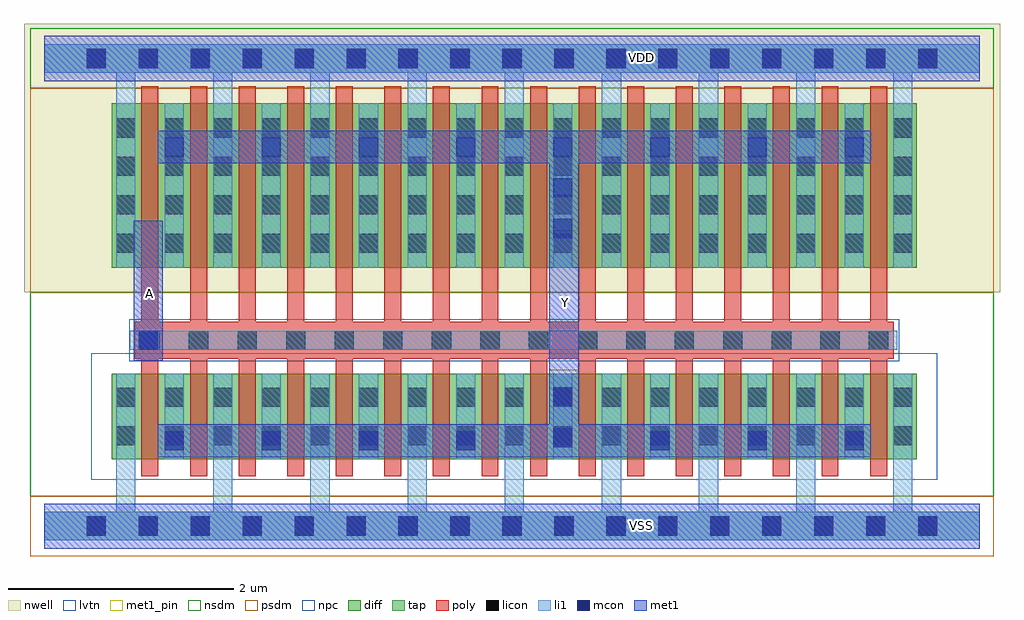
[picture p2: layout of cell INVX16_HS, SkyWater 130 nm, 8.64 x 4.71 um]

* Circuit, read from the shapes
.subckt INVX16_HS A VDD VSS Y
XM1 Y A VSS VSS sky130_fd_pr__nfet_01v8_lvt w=0.76 l=0.15 m=16
XM2 Y A VDD VDD sky130_fd_pr__pfet_01v8 w=1.46 l=0.15 m=16
.ends

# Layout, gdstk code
import gdstk
lib = gdstk.Library(unit=1e-6, precision=1e-09)
def R(c, l, rs):  # rectangles x0, y0, x1, y1
    for r in rs: c.add(gdstk.rectangle(r[:2], r[2:], *l))
def A(c, l, x, y, w, h, nx, ny, dx, dy):  # array of equal rectangles
    R(c, l, [(x+i*dx, y+j*dy, x+i*dx+w, y+j*dy+h) for i in range(nx) for j in range(ny)])
def P(c, l, *ps):  # polygons
    for p in ps: c.add(gdstk.Polygon(p, *l))
nwell = (64, 20)
diff = (65, 20)
tap = (65, 44)
poly = (66, 20)
licon = (66, 44)
li1 = (67, 20)
mcon = (67, 44)
met1_pin = (68, 16)
met1 = (68, 20)
nsdm = (93, 44)
psdm = (94, 20)
npc = (95, 20)
lvtn = (125, 44)

pyl1con_c_cdns_752016586 = lib.new_cell('PYL1CON_C_CDNS_752016586813')
R(pyl1con_c_cdns_752016586, poly, [(-0.135,-0.165,0.135,0.165)])
R(pyl1con_c_cdns_752016586, licon, [(-0.085,-0.085,0.085,0.085)])
R(pyl1con_c_cdns_752016586, npc, [(-0.185,-0.185,0.185,0.185)])

l1m1_c_cdns_752016586811 = lib.new_cell('L1M1_C_CDNS_752016586811')
R(l1m1_c_cdns_752016586811, li1, [(-0.165,-0.085,0.165,0.085)])
R(l1m1_c_cdns_752016586811, mcon, [(-0.085,-0.085,0.085,0.085)])
R(l1m1_c_cdns_752016586811, met1, [(-0.115,-0.145,0.115,0.145)])

l1m1_c_cdns_752016586812 = lib.new_cell('L1M1_C_CDNS_752016586812')
R(l1m1_c_cdns_752016586812, li1, [(-0.085,-0.165,0.085,0.165)])
R(l1m1_c_cdns_752016586812, mcon, [(-0.085,-0.085,0.085,0.085)])
R(l1m1_c_cdns_752016586812, met1, [(-0.115,-0.145,0.115,0.145)])

l1m1_c_cdns_752016586817 = lib.new_cell('L1M1_C_CDNS_752016586817')
R(l1m1_c_cdns_752016586817, li1, [(-0.085,-0.525,0.085,0.525)])
A(l1m1_c_cdns_752016586817, mcon, -0.085, -0.445, 0.17, 0.17, 1, 3, 0, 0.36)
R(l1m1_c_cdns_752016586817, met1, [(-0.115,-0.505,0.115,0.505)])

l1m1_c_cdns_752016586816 = lib.new_cell('L1M1_C_CDNS_752016586816')
R(l1m1_c_cdns_752016586816, li1, [(-0.085,-0.345,0.085,0.345)])
R(l1m1_c_cdns_752016586816, mcon, [(-0.085,-0.265,0.085,-0.095), (-0.085,0.095,0.085,0.265)])
R(l1m1_c_cdns_752016586816, met1, [(-0.115,-0.325,0.115,0.325)])

invx16_hs = lib.new_cell('INVX16_HS')
R(invx16_hs, nwell, [(-0.18,2.07,8.46,4.445)])
R(invx16_hs, diff, [(0.595,0.59,7.725,1.35), (0.595,2.285,7.725,3.745)])
P(invx16_hs, poly, [(7.52,1.81),(7.46,1.81),(7.46,3.895),(7.31,3.895),(7.31,1.81),(7.03,1.81),(7.03,3.895),(6.88,3.895),(6.88,1.81),(6.6,1.81),(6.6,3.895),(6.45,3.895),(6.45,1.81),(6.17,1.81),(6.17,3.895),(6.02,3.895),(6.02,1.81),(5.74,1.81),(5.74,3.895),(5.59,3.895),(5.59,1.81),(5.31,1.81),(5.31,3.895),(5.16,3.895),(5.16,1.81),(4.88,1.81),(4.88,3.895),(4.73,3.895),(4.73,1.81),(4.45,1.81),(4.45,3.895),(4.3,3.895),(4.3,1.81),(4.02,1.81),(4.02,3.895),(3.87,3.895),(3.87,1.81),(3.59,1.81),(3.59,3.895),(3.44,3.895),(3.44,1.81),(3.16,1.81),(3.16,3.895),(3.01,3.895),(3.01,1.81),(2.73,1.81),(2.73,3.895),(2.58,3.895),(2.58,1.81),(2.3,1.81),(2.3,3.895),(2.15,3.895),(2.15,1.81),(1.87,1.81),(1.87,3.895),(1.72,3.895),(1.72,1.81),(1.44,1.81),(1.44,3.895),(1.29,3.895),(1.29,1.81),(1.01,1.81),(1.01,3.895),(0.86,3.895),(0.86,0.44),(1.01,0.44),(1.01,1.48),(1.29,1.48),(1.29,0.44),(1.44,0.44),(1.44,1.48),(1.72,1.48),(1.72,0.44),(1.87,0.44),(1.87,1.48),(2.15,1.48),(2.15,0.44),(2.3,0.44),(2.3,1.48),(2.58,1.48),(2.58,0.44),(2.73,0.44),(2.73,1.48),(3.01,1.48),(3.01,0.44),(3.16,0.44),(3.16,1.48),(3.44,1.48),(3.44,0.44),(3.59,0.44),(3.59,1.48),(3.87,1.48),(3.87,0.44),(4.02,0.44),(4.02,1.48),(4.3,1.48),(4.3,0.44),(4.45,0.44),(4.45,1.48),(4.73,1.48),(4.73,0.44),(4.88,0.44),(4.88,1.48),(5.16,1.48),(5.16,0.44),(5.31,0.44),(5.31,1.48),(5.59,1.48),(5.59,0.44),(5.74,0.44),(5.74,1.48),(6.02,1.48),(6.02,0.44),(6.17,0.44),(6.17,1.48),(6.45,1.48),(6.45,0.44),(6.6,0.44),(6.6,1.48),(6.88,1.48),(6.88,0.44),(7.03,0.44),(7.03,1.48),(7.31,1.48),(7.31,0.44),(7.46,0.44),(7.46,1.48),(7.52,1.48)])
A(invx16_hs, licon, 0.375, -0.085, 0.17, 0.17, 17, 2, 0.46, 4.14)
A(invx16_hs, licon, 0.635, 0.715, 0.17, 0.17, 17, 2, 0.43, 0.34)
A(invx16_hs, licon, 0.635, 2.42, 0.17, 0.17, 17, 4, 0.43, 0.34)
A(invx16_hs, li1, 1.065, 0.59, 0.17, 0.76, 8, 1, 0.86, 0)
A(invx16_hs, li1, 1.065, 2.285, 0.17, 1.46, 8, 1, 0.86, 0)
P(invx16_hs, li1, [(8.28,4.265),(0,4.265),(0,4.015),(0.635,4.015),(0.635,2.285),(0.805,2.285),(0.805,4.015),(1.495,4.015),(1.495,2.285),(1.665,2.285),(1.665,4.015),(2.355,4.015),(2.355,2.285),(2.525,2.285),(2.525,4.015),(3.215,4.015),(3.215,2.285),(3.385,2.285),(3.385,4.015),(4.075,4.015),(4.075,2.285),(4.245,2.285),(4.245,4.015),(4.935,4.015),(4.935,2.285),(5.105,2.285),(5.105,4.015),(5.795,4.015),(5.795,2.285),(5.965,2.285),(5.965,4.015),(6.655,4.015),(6.655,2.285),(6.825,2.285),(6.825,4.015),(7.515,4.015),(7.515,2.285),(7.685,2.285),(7.685,4.015),(8.28,4.015)],
  [(8.28,0.125),(7.685,0.125),(7.685,1.35),(7.515,1.35),(7.515,0.125),(6.825,0.125),(6.825,1.35),(6.655,1.35),(6.655,0.125),(5.965,0.125),(5.965,1.35),(5.795,1.35),(5.795,0.125),(5.105,0.125),(5.105,1.35),(4.935,1.35),(4.935,0.125),(4.245,0.125),(4.245,1.35),(4.075,1.35),(4.075,0.125),(3.385,0.125),(3.385,1.35),(3.215,1.35),(3.215,0.125),(2.525,0.125),(2.525,1.35),(2.355,1.35),(2.355,0.125),(1.665,0.125),(1.665,1.35),(1.495,1.35),(1.495,0.125),(0.805,0.125),(0.805,1.35),(0.635,1.35),(0.635,0.125),(0,0.125),(0,-0.125),(8.28,-0.125)])
A(invx16_hs, mcon, 0.375, -0.085, 0.17, 0.17, 17, 2, 0.46, 4.14)
R(invx16_hs, met1_pin, [(4.47,1.38,4.73,2.62), (0.79,1.465,1.05,2.705)])
P(invx16_hs, met1, [(7.315,0.9),(4.73,0.9),(4.73,3.21),(7.315,3.21),(7.315,3.5),(1.005,3.5),(1.005,3.21),(4.47,3.21),(4.47,0.9),(1.005,0.9),(1.005,0.61),(7.315,0.61)])
R(invx16_hs, nsdm, [(-0.125,0.265,8.405,2.07), (-0.125,3.875,8.405,4.405)])
R(invx16_hs, psdm, [(-0.125,-0.265,8.405,0.265), (-0.125,2.07,8.405,3.875)])
R(invx16_hs, npc, [(0.75,1.46,7.57,1.83)])
R(invx16_hs, lvtn, [(0.415,0.41,7.905,1.53)])
invx16_hs.add(gdstk.FlexPath([(7.55,1.645),(0.77,1.645)], 0.17, ends="flush", simple_path=True, layer=67, datatype=20))  # li1
invx16_hs.add(gdstk.FlexPath([(0,4.14),(8.28,4.14)], 0.25, ends="flush", simple_path=True, layer=65, datatype=44))  # tap
invx16_hs.add(gdstk.FlexPath([(0,0),(8.28,0)], 0.25, ends="flush", simple_path=True, layer=65, datatype=44))  # tap
invx16_hs.add(gdstk.FlexPath([(0,4.14),(8.28,4.14)], 0.4, ends="flush", simple_path=True, layer=68, datatype=20))  # met1
invx16_hs.add(gdstk.FlexPath([(0,0),(8.28,0)], 0.4, ends="flush", simple_path=True, layer=68, datatype=20))  # met1
invx16_hs.add(gdstk.FlexPath([(0.92,1.465),(0.92,2.705)], 0.26, ends="flush", simple_path=True, layer=68, datatype=20))  # met1
invx16_hs.add(gdstk.FlexPath([(0,4.14),(8.28,4.14)], 0.4, ends="flush", simple_path=True, layer=68, datatype=16))  # met1_pin
invx16_hs.add(gdstk.FlexPath([(0,0),(8.28,0)], 0.4, ends="flush", simple_path=True, layer=68, datatype=16))  # met1_pin
invx16_hs.add(gdstk.Reference(pyl1con_c_cdns_752016586, (7.385,1.645), x_reflection=True))
invx16_hs.add(gdstk.Reference(pyl1con_c_cdns_752016586, (6.955,1.645), x_reflection=True))
invx16_hs.add(gdstk.Reference(pyl1con_c_cdns_752016586, (6.525,1.645), x_reflection=True))
invx16_hs.add(gdstk.Reference(pyl1con_c_cdns_752016586, (6.095,1.645), x_reflection=True))
invx16_hs.add(gdstk.Reference(pyl1con_c_cdns_752016586, (5.665,1.645), x_reflection=True))
invx16_hs.add(gdstk.Reference(pyl1con_c_cdns_752016586, (5.235,1.645), x_reflection=True))
invx16_hs.add(gdstk.Reference(pyl1con_c_cdns_752016586, (4.81,1.645), x_reflection=True))
invx16_hs.add(gdstk.Reference(pyl1con_c_cdns_752016586, (4.375,1.645), x_reflection=True))
invx16_hs.add(gdstk.Reference(pyl1con_c_cdns_752016586, (3.945,1.645), x_reflection=True))
invx16_hs.add(gdstk.Reference(pyl1con_c_cdns_752016586, (3.515,1.645), x_reflection=True))
invx16_hs.add(gdstk.Reference(pyl1con_c_cdns_752016586, (3.085,1.645), x_reflection=True))
invx16_hs.add(gdstk.Reference(pyl1con_c_cdns_752016586, (2.655,1.645), x_reflection=True))
invx16_hs.add(gdstk.Reference(pyl1con_c_cdns_752016586, (2.225,1.645), x_reflection=True))
invx16_hs.add(gdstk.Reference(pyl1con_c_cdns_752016586, (1.795,1.645), x_reflection=True))
invx16_hs.add(gdstk.Reference(pyl1con_c_cdns_752016586, (0.935,1.645), x_reflection=True))
invx16_hs.add(gdstk.Reference(pyl1con_c_cdns_752016586, (1.365,1.645), x_reflection=True))
invx16_hs.add(gdstk.Reference(l1m1_c_cdns_752016586811, (0.92,1.645), x_reflection=True))
invx16_hs.add(gdstk.Reference(l1m1_c_cdns_752016586812, (7.17,3.355)))
invx16_hs.add(gdstk.Reference(l1m1_c_cdns_752016586812, (1.15,3.355)))
invx16_hs.add(gdstk.Reference(l1m1_c_cdns_752016586812, (2.01,0.755)))
invx16_hs.add(gdstk.Reference(l1m1_c_cdns_752016586812, (1.15,0.755)))
invx16_hs.add(gdstk.Reference(l1m1_c_cdns_752016586812, (7.17,0.755)))
invx16_hs.add(gdstk.Reference(l1m1_c_cdns_752016586812, (6.31,0.755)))
invx16_hs.add(gdstk.Reference(l1m1_c_cdns_752016586812, (5.45,0.755)))
invx16_hs.add(gdstk.Reference(l1m1_c_cdns_752016586812, (3.73,0.755)))
invx16_hs.add(gdstk.Reference(l1m1_c_cdns_752016586812, (2.87,0.755)))
invx16_hs.add(gdstk.Reference(l1m1_c_cdns_752016586812, (2.01,3.355)))
invx16_hs.add(gdstk.Reference(l1m1_c_cdns_752016586812, (2.87,3.355)))
invx16_hs.add(gdstk.Reference(l1m1_c_cdns_752016586812, (3.73,3.355)))
invx16_hs.add(gdstk.Reference(l1m1_c_cdns_752016586812, (5.45,3.355)))
invx16_hs.add(gdstk.Reference(l1m1_c_cdns_752016586812, (6.31,3.355)))
invx16_hs.add(gdstk.Reference(l1m1_c_cdns_752016586817, (4.59,2.995)))
invx16_hs.add(gdstk.Reference(l1m1_c_cdns_752016586816, (4.59,0.965)))
invx16_hs.add(gdstk.Label('VDD', (5.285,4.145), layer=68, texttype=5))
invx16_hs.add(gdstk.Label('Y', (4.615,1.975), layer=68, texttype=5))
invx16_hs.add(gdstk.Label('VSS', (5.285,0.005), layer=68, texttype=5))
invx16_hs.add(gdstk.Label('A', (0.935,2.06), layer=68, texttype=5))

lib.write_gds('INVX16_HS.gds')
